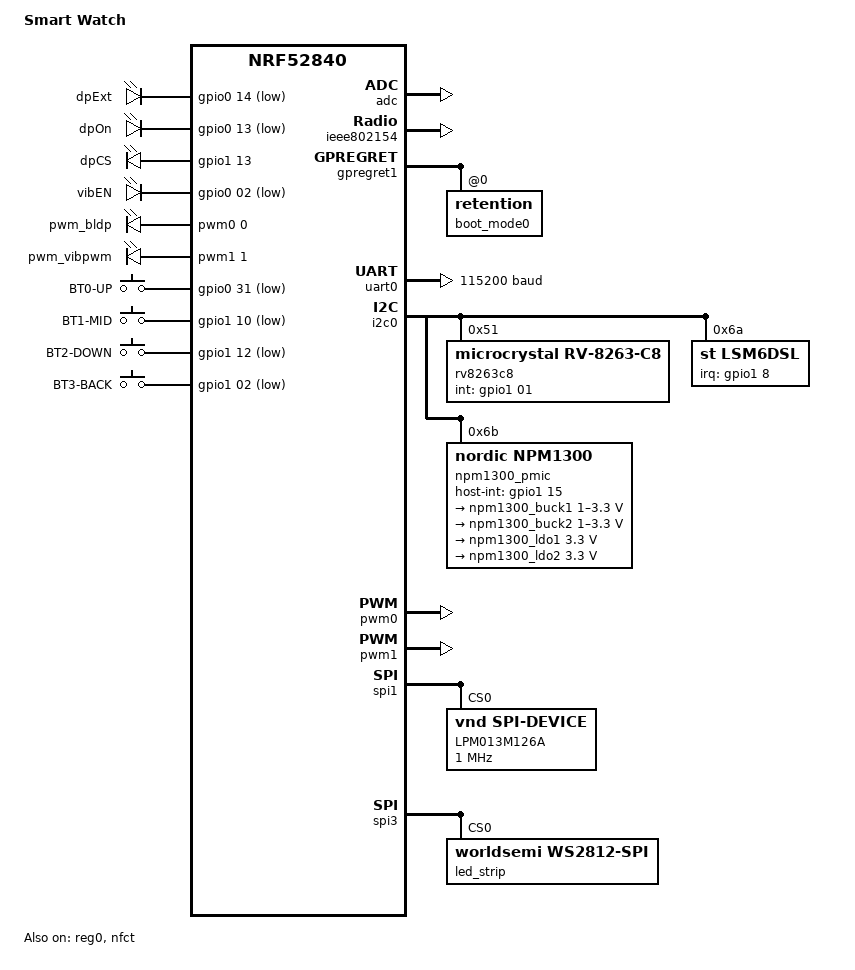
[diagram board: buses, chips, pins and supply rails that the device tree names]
/dts-v1/;
#include <nordic/nrf52840_qiaa.dtsi>
#include "K_watch-pinctrl.dtsi"
#include "K_watch-partition.dtsi"
#include <dt-bindings/regulator/npm13xx.h>
#include <zephyr/dt-bindings/input/input-event-codes.h>
#include <zephyr/dt-bindings/led/led.h>
#include "nrf52-bindings.h"

/ {
	model = "Smart Watch";
	compatible = "KhanhElectronics,K-watch";

	chosen {
		zephyr,console = &uart0;
		zephyr,shell-uart = &uart0;
		zephyr,uart-mcumgr = &uart0;
		zephyr,bt-mon-uart = &uart0;
		zephyr,bt-c2h-uart = &uart0;
		zephyr,ieee802154 = &ieee802154;
		zephyr,boot-mode = &boot_mode0;
	};

	outputs {
		compatible = "gpio-leds";
		label = "Outputs";
		dpExt: dpExt {
            label = "dpExt";
            gpios = <&gpio0 14 GPIO_ACTIVE_LOW>;
        };

        dpOn: dpOn {
            label = "dpOn";
            gpios = <&gpio0 13 GPIO_ACTIVE_LOW>;
        };

        dpCS: dpCS {
            label = "dpCS";
            gpios = <&gpio1 13 GPIO_ACTIVE_HIGH>;
        };

		vibEN: vibEN {
			label = "vibEN";
			gpios = <&gpio0 02 GPIO_ACTIVE_LOW>;
		};
	};

	pwm_controllers {
		compatible = "pwm-leds";

		pwm_bldp: pwm_bldp {
			pwms = <&pwm0 0 PWM_MSEC(1) PWM_POLARITY_NORMAL>; // Backlight for display 1khz
		};

		pwm_vibpwm: pwm_vibpwm {
			pwms = <&pwm1 1 PWM_USEC(50) PWM_POLARITY_NORMAL>; // pwm for vibrator 20khz
		};
	};

	buttons {
		compatible = "gpio-keys";
		label = "Buttons";

		button0: button_0 {
			gpios = <&gpio0 31 (GPIO_INT_WAKEUP | GPIO_PULL_UP | GPIO_ACTIVE_LOW)>;
			label = "BT0-UP";
		};

		button1: button_1 {
			gpios = <&gpio1 10 (GPIO_INT_WAKEUP | GPIO_PULL_UP | GPIO_ACTIVE_LOW)>;
			label = "BT1-MID";
		};

		button2: button_2 {
			gpios = <&gpio1 12 (GPIO_INT_WAKEUP | GPIO_PULL_UP | GPIO_ACTIVE_LOW)>;
			label = "BT2-DOWN";
		};

		button3: button_3 {
			gpios = <&gpio1 02 (GPIO_INT_WAKEUP | GPIO_ACTIVE_LOW)>;
			label = "BT3-BACK";
		};
	};
	aliases {
        dpext = &dpExt;
        dpon = &dpOn;
        dpcs = &dpCS;
        btn0 = &button0;
        btn1 = &button1;
        btn2 = &button2;
        btn3 = &button3;
		dpbl = &pwm_bldp;
		vib-en = &vibEN;
		led-strip = &led_strip;
		pwm-vibrator = &pwm_vibpwm;
    };
};

&gpio0 {
	status = "okay";
};

&gpio1 {
	status = "okay";
};

&adc {
	status = "okay";
};

&reg0 {
	status = "okay";
};

&reg1 {
	regulator-initial-mode = <NRF5X_REG_MODE_DCDC>;
};

&uicr {
	gpio-as-nreset;
};

&gpiote {
	status = "okay";
};

&nfct {
	status = "okay";
};

&ieee802154 {
	status = "okay";
};

&gpregret1 {
	status = "okay";

	boot_mode0: boot_mode@0 {
		compatible = "zephyr,retention";
		status = "okay";
		reg = <0x0 0x1>;
	};
};

&uart0 {
	compatible = "nordic,nrf-uarte";
	status = "okay";
	current-speed = <115200>;
	pinctrl-0 = <&uart0_default>;
	pinctrl-1 = <&uart0_sleep>;
	pinctrl-names = "default", "sleep";
};

&i2c0 {
	compatible = "nordic,nrf-twi";
	status = "okay";
	pinctrl-0 = <&i2c0_default>;
	pinctrl-1 = <&i2c0_sleep>;
	pinctrl-names = "default", "sleep";

	rv8263c8: rv8263c8@51 {
		compatible = "microcrystal,rv-8263-c8";
		status = "okay";
		reg = <0x51>;
		int-gpios = <&gpio1 01 GPIO_ACTIVE_HIGH>;
	};

	lsm6dsl: lsm6dsl@6a {
        compatible = "st,lsm6dsl";
        status = "okay";
		irq-gpios = <&gpio1 8 GPIO_ACTIVE_HIGH>;
        reg = <0x6a>;
    };

	npm1300_pmic: pmic@6b {
		compatible = "nordic,npm1300";
		reg = <0x6b>;

		/* Connect PMIC host interrupt to MCU GPIO1 pin 15 (P1.15) */
		host-int-gpios = <&gpio1 15 0>;
		/* PMIC internal interrupt output index (use pin 1 on the PMIC) */
		pmic-int-pin = <1>;

		npm1300_gpio: gpio-controller {
			compatible = "nordic,npm1300-gpio";
			gpio-controller;
			#gpio-cells = <2>;
			ngpios = <5>;
		};

		npm1300_regulators: regulators {
			compatible = "nordic,npm1300-regulator";

			/* limits are set to min/max allowed values */
			npm1300_buck1: BUCK1 {
				regulator-min-microvolt = <1000000>;
				regulator-max-microvolt = <3300000>;
				regulator-init-microvolt = <3300000>;
			};

			npm1300_buck2: BUCK2 {
				regulator-min-microvolt = <1000000>;
				regulator-max-microvolt = <3300000>;
				regulator-init-microvolt = <3300000>;
			};

			npm1300_ldo1: LDO1 {
				regulator-min-microvolt = <0000000>;
				regulator-max-microvolt = <3300000>;
			};

			npm1300_ldo2: LDO2 {
				regulator-min-microvolt = <0000000>;
				regulator-max-microvolt = <3300000>;
			};
		};

		npm1300_charger: charger {
			compatible = "nordic,npm1300-charger";
			term-microvolt = <4300000>;
			term-warm-microvolt = <4000000>;
			current-microamp = <100000>;
			dischg-limit-microamp = <1000000>;
			vbus-limit-microamp = <500000>;
			thermistor-ohms = <10000>;
			thermistor-beta = <3380>;
			charging-enable;
			vbatlow-charge-enable;
		};

		npm1300_buttons: buttons {
			compatible = "gpio-keys";
			pmic_button0: pmic_button_0 {
				gpios = < &npm1300_gpio 0 GPIO_ACTIVE_HIGH>;
				label = "Pmic button switch 0";
			zephyr,code = <INPUT_KEY_0>;
			};
		};

		npm1300_leds: leds {
			compatible = "nordic,npm1300-led";
			nordic,led0-mode = "error";
			nordic,led1-mode = "charging";
			nordic,led2-mode = "host";
		};
	};
};

&i2c1 {
	compatible = "nordic,nrf-twi";
	/* Cannot be used together with spi1. */
	/* status = "okay"; */
	pinctrl-0 = <&i2c1_default>;
	pinctrl-1 = <&i2c1_sleep>;
	pinctrl-names = "default", "sleep";
};

&pwm0 {
	status = "okay";
	pinctrl-0 = <&pwm0_default>;
	pinctrl-1 = <&pwm0_sleep>;
	pinctrl-names = "default", "sleep";
};

&pwm1 {
	status = "okay";
	pinctrl-0 = <&pwm1_default>;
	pinctrl-1 = <&pwm1_sleep>;
	pinctrl-names = "default", "sleep";
};

&spi1 {
    compatible = "nordic,nrf-spim";
	status = "okay";
	pinctrl-0 = <&spi1_default>;
	pinctrl-1 = <&spi1_sleep>;
	pinctrl-names = "default", "sleep";
    lpm013m126a: lpm013m126a@0 {
        compatible = "vnd,spi-device";
        reg = <0>;
        label = "LPM013M126A";
        spi-max-frequency = <1000000>;
    };

	// ls013b7dh03: ls013b7dh03@0 {
    //     compatible = "vnd,spi-device";
    //     reg = <0>;
    //     label = "LS013B7DH03";
    //     spi-max-frequency = <1000000>;
    // };
};

&spi3 {
	status = "okay";
	pinctrl-0 = <&spi3_default>;
	pinctrl-1 = <&spi3_sleep>;
	pinctrl-names = "default", "sleep";
    compatible = "nordic,nrf-spim";
	led_strip: ws2812@0 {
		compatible = "worldsemi,ws2812-spi";

		/* SPI */
		reg = <0>; /* ignored, but necessary for SPI bindings */
		spi-max-frequency = <SPI_FREQ>;

		/* WS2812 */
		chain-length = <1>; /* arbitrary; change at will */
		color-mapping = <LED_COLOR_ID_GREEN
				 LED_COLOR_ID_RED
				 LED_COLOR_ID_BLUE>;
		spi-one-frame = <ONE_FRAME>;
		spi-zero-frame = <ZERO_FRAME>;
	};
};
